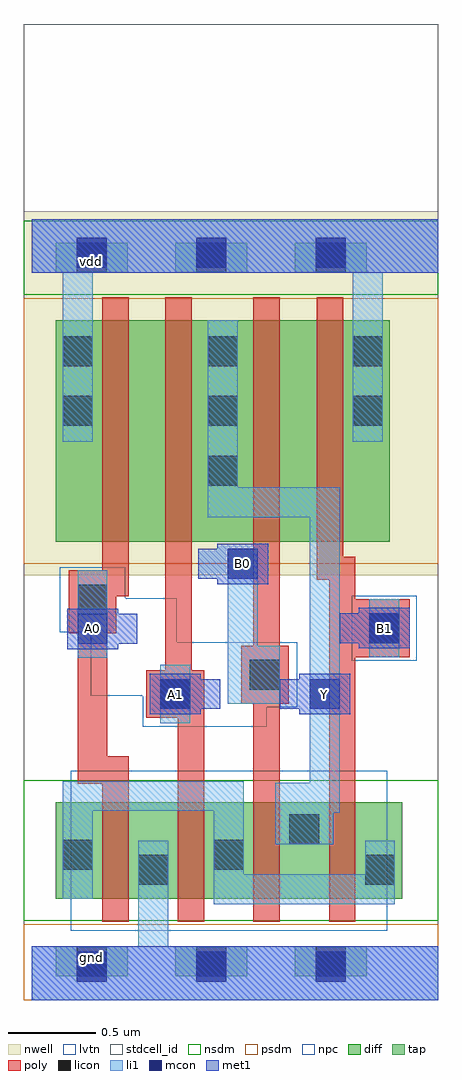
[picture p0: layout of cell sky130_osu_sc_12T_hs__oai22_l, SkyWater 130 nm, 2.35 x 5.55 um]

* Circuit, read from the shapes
.subckt sky130_osu_sc_12T_hs__oai22_l A0 A1 B0 B1 Y gnd vdd
XM1 gnd A0 n1 gnd sky130_fd_pr__nfet_01v8_lvt w=0.55 l=0.15
XM2 n1 A1 gnd gnd sky130_fd_pr__nfet_01v8_lvt w=0.55 l=0.15
XM3 Y B0 n1 gnd sky130_fd_pr__nfet_01v8_lvt w=0.55 l=0.15
XM4 n1 B1 Y gnd sky130_fd_pr__nfet_01v8_lvt w=0.55 l=0.15
XM5 n2 A0 vdd vdd sky130_fd_pr__pfet_01v8 w=1.26 l=0.15
XM6 Y A1 n2 vdd sky130_fd_pr__pfet_01v8 w=1.26 l=0.15
XM7 n3 B0 Y vdd sky130_fd_pr__pfet_01v8 w=1.26 l=0.15
XM8 vdd B1 n3 vdd sky130_fd_pr__pfet_01v8 w=1.26 l=0.15
.ends

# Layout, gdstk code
import gdstk
lib = gdstk.Library(unit=1e-6, precision=1e-09)
def R(c, l, rs):  # rectangles x0, y0, x1, y1
    for r in rs: c.add(gdstk.rectangle(r[:2], r[2:], *l))
def A(c, l, x, y, w, h, nx, ny, dx, dy):  # array of equal rectangles
    R(c, l, [(x+i*dx, y+j*dy, x+i*dx+w, y+j*dy+h) for i in range(nx) for j in range(ny)])
nwell = (64, 20)
diff = (65, 20)
tap = (65, 44)
poly = (66, 20)
licon = (66, 44)
li1 = (67, 20)
mcon = (67, 44)
met1 = (68, 20)
stdcell_id = (81, 4)
nsdm = (93, 44)
psdm = (94, 20)
npc = (95, 20)
lvtn = (125, 44)

sky130_osu_sc_12t_hs__oa = lib.new_cell('sky130_osu_sc_12T_hs__oai22_l')
R(sky130_osu_sc_12t_hs__oa, nwell, [(-0.045,2.415,2.31,4.485)])
R(sky130_osu_sc_12t_hs__oa, diff, [(0.135,0.575,2.105,1.125), (0.135,2.605,2.035,3.865)])
A(sky130_osu_sc_12t_hs__oa, tap, 0.135, 0.135, 0.41, 0.17, 3, 2, 0.68, 4)
R(sky130_osu_sc_12t_hs__oa, poly, [(0.4,0.445,0.55,1.23), (0.83,0.445,0.98,1.605), (1.26,0.445,1.41,1.685), (1.69,0.445,1.84,1.95), (0.26,1.23,0.55,1.385), (0.26,1.385,0.43,2.085), (0.65,1.605,0.98,1.875), (1.19,1.685,1.46,2.015), (0.76,1.875,0.91,3.995), (1.69,1.95,2.15,2.28), (1.26,2.015,1.41,3.995), (0.21,2.085,0.48,2.295), (1.69,2.28,1.84,2.39), (0.21,2.295,0.55,2.445), (1.62,2.39,1.84,2.52), (0.4,2.445,0.55,3.995), (1.62,2.52,1.77,3.995)])
A(sky130_osu_sc_12t_hs__oa, licon, 0.255, 0.135, 0.17, 0.17, 3, 2, 0.68, 4)
A(sky130_osu_sc_12t_hs__oa, licon, 0.175, 3.265, 0.17, 0.17, 3, 2, 0.825, 0.34)
R(sky130_osu_sc_12t_hs__oa, licon, [(0.605,0.655,0.775,0.825), (1.895,0.655,2.065,0.825), (0.175,0.74,0.345,0.91), (1.035,0.74,1.205,0.91), (1.465,0.885,1.635,1.055), (0.73,1.655,0.9,1.825), (1.24,1.765,1.41,1.935), (1.92,2.03,2.09,2.2), (0.26,2.19,0.43,2.36), (1,2.925,1.17,3.095)])
R(sky130_osu_sc_12t_hs__oa, li1, [(0,0,2.31,0.305), (0.605,0.305,0.775,0.905), (1.035,0.545,2.065,0.715), (0.175,0.575,0.345,1.075), (1.035,0.715,1.205,1.075), (1.895,0.715,2.065,0.905), (1.385,0.885,1.715,1.065), (1.385,1.065,1.75,1.235), (0.175,1.075,1.205,1.245), (1.58,1.235,1.75,2.745), (0.73,1.575,0.9,1.905), (1.115,1.685,1.41,2.015), (0.26,1.945,0.43,2.445), (1.92,1.95,2.09,2.28), (1.115,2.015,1.285,2.565), (1,2.745,1.75,2.915), (1,2.915,1.17,3.865), (0.175,3.175,0.345,4.135), (1.825,3.175,1.995,4.135), (0,4.135,2.31,4.44)])
A(sky130_osu_sc_12t_hs__oa, mcon, 0.255, 0.105, 0.17, 0.17, 3, 2, 0.68, 4.06)
R(sky130_osu_sc_12t_hs__oa, mcon, [(0.73,1.655,0.9,1.825), (1.58,1.655,1.75,1.825), (0.26,2.025,0.43,2.195), (1.92,2.03,2.09,2.2), (1.115,2.395,1.285,2.565)])
R(sky130_osu_sc_12t_hs__oa, met1, [(0,0,2.31,0.305), (0.67,1.625,0.96,1.655), (1.52,1.625,1.81,1.655), (0.67,1.655,1.07,1.825), (1.41,1.655,1.81,1.825), (0.67,1.825,0.96,1.855), (1.52,1.825,1.81,1.855), (0.2,1.995,0.49,2.025), (1.86,2,2.15,2.03), (0.2,2.025,0.6,2.195), (1.75,2.03,2.15,2.2), (0.2,2.195,0.49,2.225), (1.86,2.2,2.15,2.23), (1.055,2.365,1.345,2.395), (0.945,2.395,1.345,2.565), (1.055,2.565,1.345,2.595), (0,4.135,2.31,4.44)])
R(sky130_osu_sc_12t_hs__oa, stdcell_id, [(-0.045,0,2.31,5.55)])
R(sky130_osu_sc_12t_hs__oa, nsdm, [(-0.045,0.45,2.31,1.25), (-0.045,4.01,2.31,4.43)])
R(sky130_osu_sc_12t_hs__oa, psdm, [(-0.045,0,2.31,0.43), (-0.045,2.48,2.31,3.99)])
R(sky130_osu_sc_12t_hs__oa, npc, [(0.63,1.555,1.335,1.665), (0.63,1.665,1.51,1.73), (0.335,1.73,1.51,2.035), (1.82,1.93,2.19,2.3), (0.335,2.035,0.825,2.09), (0.16,2.09,0.825,2.285), (0.16,2.285,0.53,2.46)])
R(sky130_osu_sc_12t_hs__oa, lvtn, [(0.22,0.395,2.02,1.305)])
sky130_osu_sc_12t_hs__oa.add(gdstk.Label('gnd', (0.34,0.24), layer=68, texttype=16))
sky130_osu_sc_12t_hs__oa.add(gdstk.Label('vdd', (0.34,4.2), layer=68, texttype=16))
sky130_osu_sc_12t_hs__oa.add(gdstk.Label('B0', (1.2,2.48), layer=68, texttype=5))
sky130_osu_sc_12t_hs__oa.add(gdstk.Label('Y', (1.665,1.74), layer=68, texttype=5))
sky130_osu_sc_12t_hs__oa.add(gdstk.Label('B1', (2.005,2.115), layer=68, texttype=5))
sky130_osu_sc_12t_hs__oa.add(gdstk.Label('A1', (0.815,1.74), layer=68, texttype=5))
sky130_osu_sc_12t_hs__oa.add(gdstk.Label('A0', (0.345,2.11), layer=68, texttype=5))

lib.write_gds('sky130_osu_sc_12T_hs__oai22_l.gds')
